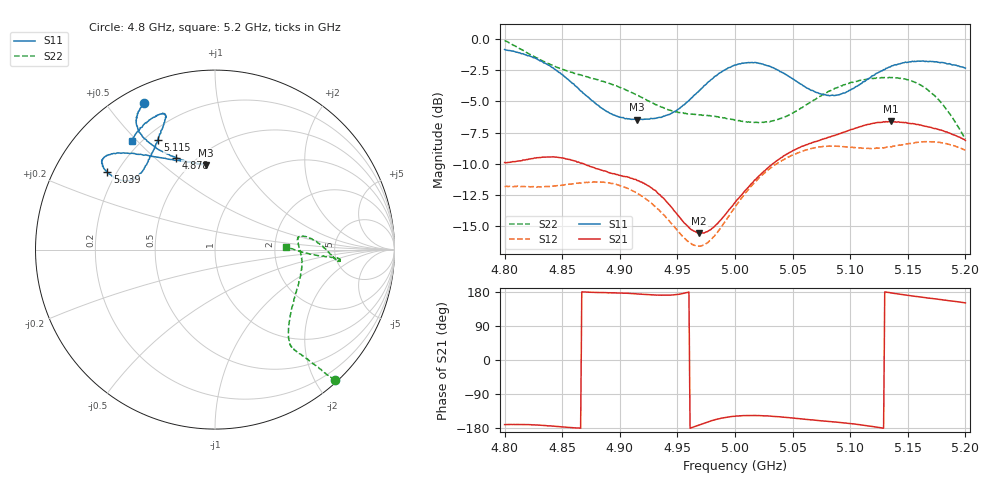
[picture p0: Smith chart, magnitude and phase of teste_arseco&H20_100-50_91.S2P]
! Network Analyzer HP8722D
! Hewlett-Packard
! Data name: Linha & Wilkinson
! Saver's name: Rodrigo Anjos
! Comments: Teste da utilização de aquisição
! continua pelo VNA HP8722D
! Time and date: 6/5/2025 13:19
!  Frequency  S11  S21  S12  S22
# HZ  S  MA R 50
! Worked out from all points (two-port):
!   401 points, 4.8 GHz to 5.2 GHz, reference 50 ohm
!   highest |S21| = -6.59 dB at 5.135 GHz (marker M1); lowest = -15.6 dB at 4.969 GHz (marker M2)
!   |S21| within 3 dB of the highest: 4.823 GHz to 4.853 GHz (30.19 MHz wide, 0.624 % of centre); 5.039 GHz to end of sweep
!   lowest |S11| = -6.5 dB at 4.915 GHz (marker M3), VSWR 2.81, Z = 29.1 + j35.5 ohm
!   |S11| at or under -10 dB: nowhere
!   |S22| runs from -8.0 to -0.1 dB; largest |S21 - S12| = 0.83
!   S11 on the Smith chart (normalised r, x): 4.8 GHz: 0.07, +0.62; 4.878 GHz: 0.40, +0.59; 5.039 GHz: 0.16, +0.32; 5.115 GHz: 0.25, +0.58; 5.2 GHz: 0.17, +0.48
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4.8e9  0.907 115.9  0.3203 -170.5  0.2565 -86.1  0.9856 -47.5
4.821e9  0.8578 120.8  0.3307 -170.5  0.2565 -81.3  0.8721 -48.7
4.837e9  0.7903 122.6  0.3371 -173.6  0.2567 -76.0  0.8005 -49.7
4.867e9  0.6154 117.9  0.3182 179.7  0.266 -67.4  0.7154 -51.6
4.878e9  0.5562 113.1  0.3052 178.4  0.2677 -66.1  0.692 -51.9
4.899e9  0.4875 101.6  0.2848 176.6  0.2601 -66.6  0.6425 -50.4
4.915e9  0.4751 96.4  0.2714 174.3  0.2416 -68.4  0.5952 -46.5
4.934e9  0.4853 99.1  0.2392 171.2  0.2072 -69.5  0.5389 -37.4
4.947e9  0.5107 107.0  0.2057 172.0  0.1782 -67.0  0.5124 -29.0
4.969e9  0.6209 123.4  0.1669 -171.4  0.1482 -47.9  0.4968 -15.1
4.981e9  0.6964 129.9  0.1756 -159.2  0.1608 -33.8  0.4898 -8.8
5e9  0.7861 137.2  0.2214 -148.5  0.2128 -21.5  0.4729 -0.3
5.019e9  0.8018 141.7  0.2776 -146.7  0.2722 -18.3  0.4637 5.9
5.039e9  0.74 144.2  0.3319 -149.9  0.322 -18.3  0.48 8.9
5.067e9  0.6227 141.9  0.3848 -158.0  0.3652 -20.6  0.5623 4.7
5.089e9  0.5957 132.5  0.4144 -164.3  0.3716 -23.8  0.6391 -1.9
5.115e9  0.6897 117.6  0.4546 -173.6  0.3647 -26.8  0.6908 -5.4
5.134e9  0.7712 111.3  0.4665 177.9  0.3689 -28.7  0.7016 -4.8
5.135e9  0.7734 111.2  0.4681 177.5  0.3705 -28.8  0.7004 -4.7
5.162e9  0.8152 112.9  0.4508 165.9  0.3873 -35.5  0.6503 -3.8
5.18e9  0.8049 119.0  0.43 158.9  0.3838 -41.0  0.549 -3.0
5.2e9  0.7637 127.3  0.3921 150.7  0.3589 -46.4  0.3969 2.4
